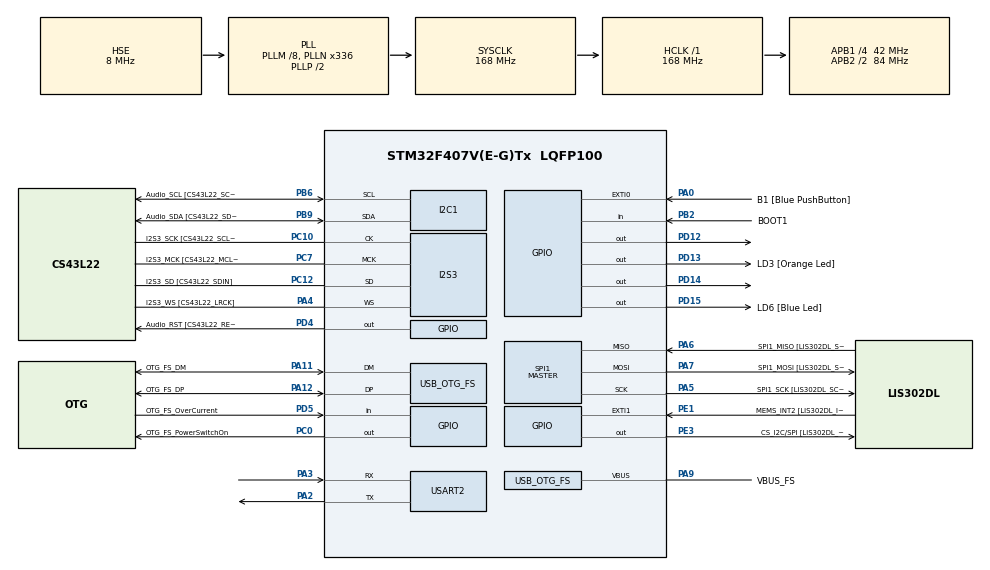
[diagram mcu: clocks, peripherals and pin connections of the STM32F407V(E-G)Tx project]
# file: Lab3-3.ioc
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I2S3.AudioFreq-Half_Duplex_Master=I2S_AUDIOFREQ_96K
I2S3.ErrorAudioFreq=-2.34 %
I2S3.ErrorAudioFreq-Half_Duplex_Master=0.8 %
I2S3.FullDuplexMode=I2S_FULLDUPLEXMODE_DISABLE
I2S3.Instance=SPI$Index
I2S3.RealAudioFreq=93.75 KHz
I2S3.RealAudioFreq-Half_Duplex_Master=96.774 KHz
I2S3.VirtualMode=I2S_MODE_MASTER
Mcu.Family=STM32F4
Mcu.Name=STM32F407V(E-G)Tx
Mcu.Package=LQFP100
NVIC.EXTI0_IRQn=true\:2\:0\:true\:false\:true\:true\:true
NVIC.OTG_FS_IRQn=true\:0\:0\:false\:false\:true\:true\:true
NVIC.PriorityGroup=NVIC_PRIORITYGROUP_2
NVIC.TIM3_IRQn=true\:0\:0\:false\:false\:true\:true\:true
NVIC.TIM4_IRQn=true\:0\:0\:false\:false\:true\:true\:true
NVIC.TIM5_IRQn=true\:0\:0\:false\:false\:true\:true\:true
PA0-WKUP.GPIO_Label=B1 [Blue PushButton]
PA0-WKUP.GPIO_ModeDefaultEXTI=GPIO_MODE_IT_RISING
PA0-WKUP.GPIO_PuPd=GPIO_NOPULL
PA0-WKUP.Signal=GPXTI0
PA10.GPIO_Label=OTG_FS_ID
PA10.GPIO_Mode=GPIO_MODE_AF_PP
PA10.GPIO_PuPd=GPIO_NOPULL
PA10.GPIO_Speed=GPIO_SPEED_FREQ_LOW
PA10.Signal=USB_OTG_FS_ID
PA11.GPIO_Label=OTG_FS_DM
PA11.GPIO_Mode=GPIO_MODE_AF_PP
PA11.GPIO_PuPd=GPIO_NOPULL
PA11.GPIO_Speed=GPIO_SPEED_FREQ_LOW
PA11.Mode=Host_Only
PA11.Signal=USB_OTG_FS_DM
PA12.GPIO_Label=OTG_FS_DP
PA12.GPIO_Mode=GPIO_MODE_AF_PP
PA12.GPIO_PuPd=GPIO_NOPULL
PA12.GPIO_Speed=GPIO_SPEED_FREQ_LOW
PA12.Mode=Host_Only
PA12.Signal=USB_OTG_FS_DP
PA13.GPIO_Label=SWDIO
PA13.Mode=Serial_Wire
PA13.Signal=SYS_JTMS-SWDIO
PA14.GPIO_Label=SWCLK
PA14.Mode=Serial_Wire
PA14.Signal=SYS_JTCK-SWCLK
PA2.Mode=Asynchronous
PA2.Signal=USART2_TX
PA3.Mode=Asynchronous
PA3.Signal=USART2_RX
PA4.GPIO_Label=I2S3_WS [CS43L22_LRCK]
PA4.GPIO_Mode=GPIO_MODE_AF_PP
PA4.GPIO_PuPd=GPIO_NOPULL
PA4.GPIO_Speed=GPIO_SPEED_FREQ_LOW
PA4.Mode=Half_Duplex_Master
PA4.Signal=I2S3_WS
PA5.GPIO_Label=SPI1_SCK [LIS302DL_SCL/SPC]
PA5.GPIO_Mode=GPIO_MODE_AF_PP
PA5.GPIO_PuPd=GPIO_NOPULL
PA5.GPIO_Speed=GPIO_SPEED_FREQ_LOW
PA5.Mode=Full_Duplex_Master
PA5.Signal=SPI1_SCK
PA6.GPIO_Label=SPI1_MISO [LIS302DL_SDO]
PA6.GPIO_Mode=GPIO_MODE_AF_PP
PA6.GPIO_PuPd=GPIO_NOPULL
PA6.GPIO_Speed=GPIO_SPEED_FREQ_LOW
PA6.Mode=Full_Duplex_Master
PA6.Signal=SPI1_MISO
PA7.GPIO_Label=SPI1_MOSI [LIS302DL_SDA/SDI/SDO]
PA7.GPIO_Mode=GPIO_MODE_AF_PP
PA7.GPIO_PuPd=GPIO_NOPULL
PA7.GPIO_Speed=GPIO_SPEED_FREQ_LOW
PA7.Mode=Full_Duplex_Master
PA7.Signal=SPI1_MOSI
PA9.GPIO_Label=VBUS_FS
PA9.GPIO_Mode=GPIO_MODE_INPUT
PA9.GPIO_PuPd=GPIO_NOPULL
PA9.Mode=Activate_VBUS
PA9.Signal=USB_OTG_FS_VBUS
PB10.GPIO_Label=CLK_IN [MP45DT02_CLK]
PB10.GPIO_Mode=GPIO_MODE_AF_PP
PB10.GPIO_PuPd=GPIO_NOPULL
PB10.GPIO_Speed=GPIO_SPEED_FREQ_LOW
PB10.Signal=I2S2_CK
PB2.GPIO_Label=BOOT1
PB2.GPIO_Mode=GPIO_MODE_INPUT
PB2.GPIO_PuPd=GPIO_NOPULL
PB2.Signal=GPIO_Input
PB3.GPIO_Label=SWO
PB3.Signal=SYS_JTDO-SWO
PB6.GPIO_Label=Audio_SCL [CS43L22_SCL]
PB6.GPIO_Mode=GPIO_MODE_AF_OD
PB6.GPIO_PuPd=GPIO_NOPULL
PB6.GPIO_Speed=GPIO_SPEED_FREQ_LOW
PB6.Mode=I2C
PB6.Signal=I2C1_SCL
PB9.GPIO_Label=Audio_SDA [CS43L22_SDA]
PB9.GPIO_Mode=GPIO_MODE_AF_OD
PB9.GPIO_PuPd=GPIO_NOPULL
PB9.GPIO_Speed=GPIO_SPEED_FREQ_LOW
PB9.Mode=I2C
PB9.Signal=I2C1_SDA
PC0.GPIO_Label=OTG_FS_PowerSwitchOn
PC0.GPIO_PuPd=GPIO_NOPULL
PC0.GPIO_Speed=GPIO_SPEED_FREQ_LOW
PC0.PinState=GPIO_PIN_SET
PC0.Signal=GPIO_Output
PC10.GPIO_Label=I2S3_SCK [CS43L22_SCLK]
PC10.GPIO_Mode=GPIO_MODE_AF_PP
PC10.GPIO_PuPd=GPIO_NOPULL
PC10.GPIO_Speed=GPIO_SPEED_FREQ_LOW
PC10.Mode=Half_Duplex_Master
PC10.Signal=I2S3_CK
PC12.GPIO_Label=I2S3_SD [CS43L22_SDIN]
PC12.GPIO_Mode=GPIO_MODE_AF_PP
PC12.GPIO_PuPd=GPIO_NOPULL
PC12.GPIO_Speed=GPIO_SPEED_FREQ_LOW
PC12.Mode=Half_Duplex_Master
PC12.Signal=I2S3_SD
PC14-OSC32_IN.GPIO_Label=PC14-OSC32_IN
PC14-OSC32_IN.Mode=LSE-External-Oscillator
PC14-OSC32_IN.Signal=RCC_OSC32_IN
PC15-OSC32_OUT.GPIO_Label=PC15-OSC32_OUT
PC15-OSC32_OUT.Mode=LSE-External-Oscillator
PC15-OSC32_OUT.Signal=RCC_OSC32_OUT
PC3.GPIO_Label=PDM_OUT [MP45DT02_DOUT]
PC3.GPIO_Mode=GPIO_MODE_AF_PP
PC3.GPIO_PuPd=GPIO_NOPULL
PC3.GPIO_Speed=GPIO_SPEED_FREQ_LOW
PC3.Signal=I2S2_SD
PC7.GPIO_Label=I2S3_MCK [CS43L22_MCLK]
PC7.GPIO_Mode=GPIO_MODE_AF_PP
PC7.GPIO_PuPd=GPIO_NOPULL
PC7.GPIO_Speed=GPIO_SPEED_FREQ_LOW
PC7.Mode=Master_Clock_Activated
PC7.Signal=I2S3_MCK
PD12.Signal=GPIO_Output
PD13.GPIO_Label=LD3 [Orange Led]
PD13.GPIO_PuPd=GPIO_NOPULL
PD13.GPIO_Speed=GPIO_SPEED_FREQ_LOW
PD13.Signal=GPIO_Output
PD14.Signal=GPIO_Output
PD15.GPIO_Label=LD6 [Blue Led]
PD15.GPIO_PuPd=GPIO_NOPULL
PD15.GPIO_Speed=GPIO_SPEED_FREQ_LOW
PD15.Signal=GPIO_Output
PD4.GPIO_Label=Audio_RST [CS43L22_RESET]
PD4.GPIO_PuPd=GPIO_NOPULL
PD4.GPIO_Speed=GPIO_SPEED_FREQ_LOW
PD4.Signal=GPIO_Output
PD5.GPIO_Label=OTG_FS_OverCurrent
PD5.GPIO_Mode=GPIO_MODE_INPUT
PD5.GPIO_PuPd=GPIO_NOPULL
PD5.Signal=GPIO_Input
PE1.GPIO_Label=MEMS_INT2 [LIS302DL_INT2]
PE1.GPIO_ModeDefaultEXTI=GPIO_MODE_EVT_RISING
PE1.GPIO_PuPd=GPIO_NOPULL
PE1.Signal=GPXTI1
PE3.GPIO_Label=CS_I2C/SPI [LIS302DL_CS_I2C/SPI]
PE3.GPIO_PuPd=GPIO_NOPULL
PE3.GPIO_Speed=GPIO_SPEED_FREQ_LOW
PE3.Signal=GPIO_Output
PH0-OSC_IN.GPIO_Label=PH0-OSC_IN
PH0-OSC_IN.Mode=HSE-External-Oscillator
PH0-OSC_IN.Signal=RCC_OSC_IN
PH1-OSC_OUT.GPIO_Label=PH1-OSC_OUT
PH1-OSC_OUT.Mode=HSE-External-Oscillator
PH1-OSC_OUT.Signal=RCC_OSC_OUT
ProjectManager.HeapSize=0x200
ProjectManager.StackSize=0x400
ProjectManager.TargetToolchain=STM32CubeIDE
RCC.48MHZClocksFreq_Value=48000000
RCC.AHBFreq_Value=168000000
RCC.APB1CLKDivider=RCC_HCLK_DIV4
RCC.APB1Freq_Value=42000000
RCC.APB1TimFreq_Value=84000000
RCC.APB2CLKDivider=RCC_HCLK_DIV2
RCC.APB2Freq_Value=84000000
RCC.APB2TimFreq_Value=168000000
RCC.CortexFreq_Value=168000000
RCC.HCLKFreq_Value=168000000
RCC.HSE_VALUE=8000000
RCC.HSI_VALUE=16000000
RCC.PLLM=8
RCC.PLLN=336
RCC.PLLQ=7
RCC.SYSCLKFreq_VALUE=168000000
RCC.SYSCLKSource=RCC_SYSCLKSOURCE_PLLCLK
RCC.VCOOutputFreq_Value=336000000
SPI1.BaudRatePrescaler-Full_Duplex_Master=SPI_BAUDRATEPRESCALER_2
SPI1.CalculateBaudRate-Full_Duplex_Master=42.0 MBits/s
SPI1.Direction=SPI_DIRECTION_2LINES
SPI1.Mode=SPI_MODE_MASTER
SPI1.Mode-Full_Duplex_Master=SPI_MODE_MASTER
SPI1.VirtualType=VM_MASTER
TIM3.AutoReloadPreload=TIM_AUTORELOAD_PRELOAD_ENABLE
TIM3.Period=4999
TIM3.Prescaler=8399
TIM4.AutoReloadPreload=TIM_AUTORELOAD_PRELOAD_ENABLE
TIM4.Period=4900
TIM4.Prescaler=8399
TIM5.AutoReloadPreload=TIM_AUTORELOAD_PRELOAD_ENABLE
TIM5.Period=9999
TIM5.Prescaler=8399
USART2.VirtualMode=VM_ASYNC
USB_HOST.BSP.number=1
USB_HOST.USBH_HandleTypeDef-CDC_FS=hUsbHostFS
USB_HOST.VirtualModeFS=Cdc
USB_HOST0.BSP.STBoard=false
USB_HOST0.BSP.api=Unknown
USB_HOST0.BSP.i2caddr=0
USB_HOST0.BSP.i2creg=0
USB_HOST0.BSP.instance=PC0
USB_HOST0.BSP.ip=GPIO
USB_HOST0.BSP.mode=Output
USB_HOST0.BSP.name=Drive_VBUS_FS
USB_HOST0.BSP.solution=PC0
USB_OTG_FS.VirtualMode=Host_Only
USB_OTG_FS.phy_itface=HCD_PHY_EMBEDDED
VP_TIM3_VS_ClockSourceINT.Mode=Internal
VP_TIM4_VS_ClockSourceINT.Mode=Internal
VP_TIM5_VS_ClockSourceINT.Mode=Internal
VP_USB_HOST_VS_USB_HOST_CDC_FS.Mode=CDC_FS
board=STM32F4DISCOVERY

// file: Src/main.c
/* USER CODE BEGIN Header */
/**
  ******************************************************************************
  * @file           : main.c
  * @brief          : Main program body
  ******************************************************************************
  * @attention
  *
  * <h2><center>&copy; Copyright (c) 2019 STMicroelectronics.
  * All rights reserved.</center></h2>
  *
  * This software component is licensed by ST under Ultimate Liberty license
  * SLA0044, the "License"; You may not use this file except in compliance with
  * the License. You may obtain a copy of the License at:
  *                             www.st.com/SLA0044
  *
  ******************************************************************************
  */
/* USER CODE END Header */

#include "main.h"
#include "usb_host.h"

I2C_HandleTypeDef hi2c1;

I2S_HandleTypeDef hi2s3;

SPI_HandleTypeDef hspi1;

TIM_HandleTypeDef htim3;
TIM_HandleTypeDef htim4;
TIM_HandleTypeDef htim5;

UART_HandleTypeDef huart2;

void SystemClock_Config(void);
static void MX_GPIO_Init(void);
static void MX_I2C1_Init(void);
static void MX_I2S3_Init(void);
static void MX_SPI1_Init(void);
static void MX_TIM3_Init(void);
static void MX_TIM4_Init(void);
static void MX_TIM5_Init(void);
static void MX_USART2_UART_Init(void);
void MX_USB_HOST_Process(void);

/* USER CODE BEGIN 0 */

int countRed = 0;
int countGreen = 0;

void HAL_TIM_PeriodElapsedCallback(TIM_HandleTypeDef *htim) {
	if (htim == &htim3) {
		HAL_GPIO_TogglePin(GPIOD, GPIO_PIN_14);
		countRed++;
	} else if (htim == &htim4) {
		HAL_GPIO_TogglePin(GPIOD, GPIO_PIN_12);
		countGreen++;
	} else if (htim == &htim5) {
		char buffer[30];
		sprintf(buffer,"RED: %d GREEN: %d\r\n", countRed, countGreen);
		//HAL_UART_Transmit(&huart2, &buffer, strlen(buffer), 1000);
	}
}

/* USER CODE END 0 */

int main(void)
{

  /* MCU Configuration--------------------------------------------------------*/

  /* Reset of all peripherals, Initializes the Flash interface and the Systick. */
  HAL_Init();

  /* Configure the system clock */
  SystemClock_Config();

  /* Initialize all configured peripherals */
  MX_GPIO_Init();
  MX_I2C1_Init();
  MX_I2S3_Init();
  MX_SPI1_Init();
  MX_USB_HOST_Init();
  MX_TIM3_Init();
  MX_TIM4_Init();
  MX_TIM5_Init();
  MX_USART2_UART_Init();
  /* USER CODE BEGIN 2 */
  HAL_TIM_Base_Start_IT(&htim3);
  HAL_TIM_Base_Start_IT(&htim4);
  HAL_TIM_Base_Start_IT(&htim5);
  /* USER CODE END 2 */

  /* Infinite loop */
  while (1)
  {
    MX_USB_HOST_Process();

  }
}

void SystemClock_Config(void)
{
  RCC_OscInitTypeDef RCC_OscInitStruct = {0};
  RCC_ClkInitTypeDef RCC_ClkInitStruct = {0};
  RCC_PeriphCLKInitTypeDef PeriphClkInitStruct = {0};

  /** Configure the main internal regulator output voltage
  */
  __HAL_RCC_PWR_CLK_ENABLE();
  __HAL_PWR_VOLTAGESCALING_CONFIG(PWR_REGULATOR_VOLTAGE_SCALE1);
  /** Initializes the CPU, AHB and APB busses clocks
  */
  RCC_OscInitStruct.OscillatorType = RCC_OSCILLATORTYPE_HSE;
  RCC_OscInitStruct.HSEState = RCC_HSE_ON;
  RCC_OscInitStruct.PLL.PLLState = RCC_PLL_ON;
  RCC_OscInitStruct.PLL.PLLSource = RCC_PLLSOURCE_HSE;
  RCC_OscInitStruct.PLL.PLLM = 8;
  RCC_OscInitStruct.PLL.PLLN = 336;
  RCC_OscInitStruct.PLL.PLLP = RCC_PLLP_DIV2;
  RCC_OscInitStruct.PLL.PLLQ = 7;
  if (HAL_RCC_OscConfig(&RCC_OscInitStruct) != HAL_OK)
  {
    Error_Handler();
  }
  /** Initializes the CPU, AHB and APB busses clocks
  */
  RCC_ClkInitStruct.ClockType = RCC_CLOCKTYPE_HCLK|RCC_CLOCKTYPE_SYSCLK
                              |RCC_CLOCKTYPE_PCLK1|RCC_CLOCKTYPE_PCLK2;
  RCC_ClkInitStruct.SYSCLKSource = RCC_SYSCLKSOURCE_PLLCLK;
  RCC_ClkInitStruct.AHBCLKDivider = RCC_SYSCLK_DIV1;
  RCC_ClkInitStruct.APB1CLKDivider = RCC_HCLK_DIV4;
  RCC_ClkInitStruct.APB2CLKDivider = RCC_HCLK_DIV2;

  if (HAL_RCC_ClockConfig(&RCC_ClkInitStruct, FLASH_LATENCY_5) != HAL_OK)
  {
    Error_Handler();
  }
  PeriphClkInitStruct.PeriphClockSelection = RCC_PERIPHCLK_I2S;
  PeriphClkInitStruct.PLLI2S.PLLI2SN = 192;
  PeriphClkInitStruct.PLLI2S.PLLI2SR = 2;
  if (HAL_RCCEx_PeriphCLKConfig(&PeriphClkInitStruct) != HAL_OK)
  {
    Error_Handler();
  }
}

static void MX_I2C1_Init(void)
{

  hi2c1.Instance = I2C1;
  hi2c1.Init.ClockSpeed = 100000;
  hi2c1.Init.DutyCycle = I2C_DUTYCYCLE_2;
  hi2c1.Init.OwnAddress1 = 0;
  hi2c1.Init.AddressingMode = I2C_ADDRESSINGMODE_7BIT;
  hi2c1.Init.DualAddressMode = I2C_DUALADDRESS_DISABLE;
  hi2c1.Init.OwnAddress2 = 0;
  hi2c1.Init.GeneralCallMode = I2C_GENERALCALL_DISABLE;
  hi2c1.Init.NoStretchMode = I2C_NOSTRETCH_DISABLE;
  if (HAL_I2C_Init(&hi2c1) != HAL_OK)
  {
    Error_Handler();
  }

}

static void MX_I2S3_Init(void)
{

  hi2s3.Instance = SPI3;
  hi2s3.Init.Mode = I2S_MODE_MASTER_TX;
  hi2s3.Init.Standard = I2S_STANDARD_PHILIPS;
  hi2s3.Init.DataFormat = I2S_DATAFORMAT_16B;
  hi2s3.Init.MCLKOutput = I2S_MCLKOUTPUT_ENABLE;
  hi2s3.Init.AudioFreq = I2S_AUDIOFREQ_96K;
  hi2s3.Init.CPOL = I2S_CPOL_LOW;
  hi2s3.Init.ClockSource = I2S_CLOCK_PLL;
  hi2s3.Init.FullDuplexMode = I2S_FULLDUPLEXMODE_DISABLE;
  if (HAL_I2S_Init(&hi2s3) != HAL_OK)
  {
    Error_Handler();
  }

}

static void MX_SPI1_Init(void)
{

  /* SPI1 parameter configuration*/
  hspi1.Instance = SPI1;
  hspi1.Init.Mode = SPI_MODE_MASTER;
  hspi1.Init.Direction = SPI_DIRECTION_2LINES;
  hspi1.Init.DataSize = SPI_DATASIZE_8BIT;
  hspi1.Init.CLKPolarity = SPI_POLARITY_LOW;
  hspi1.Init.CLKPhase = SPI_PHASE_1EDGE;
  hspi1.Init.NSS = SPI_NSS_SOFT;
  hspi1.Init.BaudRatePrescaler = SPI_BAUDRATEPRESCALER_2;
  hspi1.Init.FirstBit = SPI_FIRSTBIT_MSB;
  hspi1.Init.TIMode = SPI_TIMODE_DISABLE;
  hspi1.Init.CRCCalculation = SPI_CRCCALCULATION_DISABLE;
  hspi1.Init.CRCPolynomial = 10;
  if (HAL_SPI_Init(&hspi1) != HAL_OK)
  {
    Error_Handler();
  }

}

static void MX_TIM3_Init(void)
{

  TIM_ClockConfigTypeDef sClockSourceConfig = {0};
  TIM_MasterConfigTypeDef sMasterConfig = {0};

  htim3.Instance = TIM3;
  htim3.Init.Prescaler = 8399;
  htim3.Init.CounterMode = TIM_COUNTERMODE_UP;
  htim3.Init.Period = 4999;
  htim3.Init.ClockDivision = TIM_CLOCKDIVISION_DIV1;
  htim3.Init.AutoReloadPreload = TIM_AUTORELOAD_PRELOAD_ENABLE;
  if (HAL_TIM_Base_Init(&htim3) != HAL_OK)
  {
    Error_Handler();
  }
  sClockSourceConfig.ClockSource = TIM_CLOCKSOURCE_INTERNAL;
  if (HAL_TIM_ConfigClockSource(&htim3, &sClockSourceConfig) != HAL_OK)
  {
    Error_Handler();
  }
  sMasterConfig.MasterOutputTrigger = TIM_TRGO_RESET;
  sMasterConfig.MasterSlaveMode = TIM_MASTERSLAVEMODE_DISABLE;
  if (HAL_TIMEx_MasterConfigSynchronization(&htim3, &sMasterConfig) != HAL_OK)
  {
    Error_Handler();
  }

}

static void MX_TIM4_Init(void)
{

  TIM_ClockConfigTypeDef sClockSourceConfig = {0};
  TIM_MasterConfigTypeDef sMasterConfig = {0};

  htim4.Instance = TIM4;
  htim4.Init.Prescaler = 8399;
  htim4.Init.CounterMode = TIM_COUNTERMODE_UP;
  htim4.Init.Period = 4900;
  htim4.Init.ClockDivision = TIM_CLOCKDIVISION_DIV1;
  htim4.Init.AutoReloadPreload = TIM_AUTORELOAD_PRELOAD_ENABLE;
  if (HAL_TIM_Base_Init(&htim4) != HAL_OK)
  {
    Error_Handler();
  }
  sClockSourceConfig.ClockSource = TIM_CLOCKSOURCE_INTERNAL;
  if (HAL_TIM_ConfigClockSource(&htim4, &sClockSourceConfig) != HAL_OK)
  {
    Error_Handler();
  }
  sMasterConfig.MasterOutputTrigger = TIM_TRGO_RESET;
  sMasterConfig.MasterSlaveMode = TIM_MASTERSLAVEMODE_DISABLE;
  if (HAL_TIMEx_MasterConfigSynchronization(&htim4, &sMasterConfig) != HAL_OK)
  {
    Error_Handler();
  }

}

static void MX_TIM5_Init(void)
{

  TIM_ClockConfigTypeDef sClockSourceConfig = {0};
  TIM_MasterConfigTypeDef sMasterConfig = {0};

  htim5.Instance = TIM5;
  htim5.Init.Prescaler = 8399;
  htim5.Init.CounterMode = TIM_COUNTERMODE_UP;
  htim5.Init.Period = 9999;
  htim5.Init.ClockDivision = TIM_CLOCKDIVISION_DIV1;
  htim5.Init.AutoReloadPreload = TIM_AUTORELOAD_PRELOAD_ENABLE;
  if (HAL_TIM_Base_Init(&htim5) != HAL_OK)
  {
    Error_Handler();
  }
  sClockSourceConfig.ClockSource = TIM_CLOCKSOURCE_INTERNAL;
  if (HAL_TIM_ConfigClockSource(&htim5, &sClockSourceConfig) != HAL_OK)
  {
    Error_Handler();
  }
  sMasterConfig.MasterOutputTrigger = TIM_TRGO_RESET;
  sMasterConfig.MasterSlaveMode = TIM_MASTERSLAVEMODE_DISABLE;
  if (HAL_TIMEx_MasterConfigSynchronization(&htim5, &sMasterConfig) != HAL_OK)
  {
    Error_Handler();
  }

}

static void MX_USART2_UART_Init(void)
{

  huart2.Instance = USART2;
  huart2.Init.BaudRate = 115200;
  huart2.Init.WordLength = UART_WORDLENGTH_8B;
  huart2.Init.StopBits = UART_STOPBITS_1;
  huart2.Init.Parity = UART_PARITY_NONE;
  huart2.Init.Mode = UART_MODE_TX_RX;
  huart2.Init.HwFlowCtl = UART_HWCONTROL_NONE;
  huart2.Init.OverSampling = UART_OVERSAMPLING_16;
  if (HAL_UART_Init(&huart2) != HAL_OK)
  {
    Error_Handler();
  }

}

static void MX_GPIO_Init(void)
{
  GPIO_InitTypeDef GPIO_InitStruct = {0};

  /* GPIO Ports Clock Enable */
  __HAL_RCC_GPIOE_CLK_ENABLE();
  __HAL_RCC_GPIOC_CLK_ENABLE();
  __HAL_RCC_GPIOH_CLK_ENABLE();
  __HAL_RCC_GPIOA_CLK_ENABLE();
  __HAL_RCC_GPIOB_CLK_ENABLE();
  __HAL_RCC_GPIOD_CLK_ENABLE();

  /*Configure GPIO pin Output Level */
  HAL_GPIO_WritePin(CS_I2C_SPI_GPIO_Port, CS_I2C_SPI_Pin, GPIO_PIN_RESET);

  /*Configure GPIO pin Output Level */
  HAL_GPIO_WritePin(OTG_FS_PowerSwitchOn_GPIO_Port, OTG_FS_PowerSwitchOn_Pin, GPIO_PIN_SET);

  /*Configure GPIO pin Output Level */
  HAL_GPIO_WritePin(GPIOD, GPIO_PIN_12|LD3_Pin|GPIO_PIN_14|LD6_Pin
                          |Audio_RST_Pin, GPIO_PIN_RESET);

  /*Configure GPIO pin : CS_I2C_SPI_Pin */
  GPIO_InitStruct.Pin = CS_I2C_SPI_Pin;
  GPIO_InitStruct.Mode = GPIO_MODE_OUTPUT_PP;
  GPIO_InitStruct.Pull = GPIO_NOPULL;
  GPIO_InitStruct.Speed = GPIO_SPEED_FREQ_LOW;
  HAL_GPIO_Init(CS_I2C_SPI_GPIO_Port, &GPIO_InitStruct);

  /*Configure GPIO pin : OTG_FS_PowerSwitchOn_Pin */
  GPIO_InitStruct.Pin = OTG_FS_PowerSwitchOn_Pin;
  GPIO_InitStruct.Mode = GPIO_MODE_OUTPUT_PP;
  GPIO_InitStruct.Pull = GPIO_NOPULL;
  GPIO_InitStruct.Speed = GPIO_SPEED_FREQ_LOW;
  HAL_GPIO_Init(OTG_FS_PowerSwitchOn_GPIO_Port, &GPIO_InitStruct);

  /*Configure GPIO pin : PDM_OUT_Pin */
  GPIO_InitStruct.Pin = PDM_OUT_Pin;
  GPIO_InitStruct.Mode = GPIO_MODE_AF_PP;
  GPIO_InitStruct.Pull = GPIO_NOPULL;
  GPIO_InitStruct.Speed = GPIO_SPEED_FREQ_LOW;
  GPIO_InitStruct.Alternate = GPIO_AF5_SPI2;
  HAL_GPIO_Init(PDM_OUT_GPIO_Port, &GPIO_InitStruct);

  /*Configure GPIO pin : B1_Pin */
  GPIO_InitStruct.Pin = B1_Pin;
  GPIO_InitStruct.Mode = GPIO_MODE_IT_RISING;
  GPIO_InitStruct.Pull = GPIO_NOPULL;
  HAL_GPIO_Init(B1_GPIO_Port, &GPIO_InitStruct);

  /*Configure GPIO pin : BOOT1_Pin */
  GPIO_InitStruct.Pin = BOOT1_Pin;
  GPIO_InitStruct.Mode = GPIO_MODE_INPUT;
  GPIO_InitStruct.Pull = GPIO_NOPULL;
  HAL_GPIO_Init(BOOT1_GPIO_Port, &GPIO_InitStruct);

  /*Configure GPIO pin : CLK_IN_Pin */
  GPIO_InitStruct.Pin = CLK_IN_Pin;
  GPIO_InitStruct.Mode = GPIO_MODE_AF_PP;
  GPIO_InitStruct.Pull = GPIO_NOPULL;
  GPIO_InitStruct.Speed = GPIO_SPEED_FREQ_LOW;
  GPIO_InitStruct.Alternate = GPIO_AF5_SPI2;
  HAL_GPIO_Init(CLK_IN_GPIO_Port, &GPIO_InitStruct);

  /*Configure GPIO pins : PD12 LD3_Pin PD14 LD6_Pin
                           Audio_RST_Pin */
  GPIO_InitStruct.Pin = GPIO_PIN_12|LD3_Pin|GPIO_PIN_14|LD6_Pin
                          |Audio_RST_Pin;
  GPIO_InitStruct.Mode = GPIO_MODE_OUTPUT_PP;
  GPIO_InitStruct.Pull = GPIO_NOPULL;
  GPIO_InitStruct.Speed = GPIO_SPEED_FREQ_LOW;
  HAL_GPIO_Init(GPIOD, &GPIO_InitStruct);

  /*Configure GPIO pin : OTG_FS_OverCurrent_Pin */
  GPIO_InitStruct.Pin = OTG_FS_OverCurrent_Pin;
  GPIO_InitStruct.Mode = GPIO_MODE_INPUT;
  GPIO_InitStruct.Pull = GPIO_NOPULL;
  HAL_GPIO_Init(OTG_FS_OverCurrent_GPIO_Port, &GPIO_InitStruct);

  /*Configure GPIO pin : MEMS_INT2_Pin */
  GPIO_InitStruct.Pin = MEMS_INT2_Pin;
  GPIO_InitStruct.Mode = GPIO_MODE_EVT_RISING;
  GPIO_InitStruct.Pull = GPIO_NOPULL;
  HAL_GPIO_Init(MEMS_INT2_GPIO_Port, &GPIO_InitStruct);

  /* EXTI interrupt init*/
  HAL_NVIC_SetPriority(EXTI0_IRQn, 2, 0);
  HAL_NVIC_EnableIRQ(EXTI0_IRQn);

}

void Error_Handler(void)
{
}

/************************ (C) COPYRIGHT STMicroelectronics *****END OF FILE****/
